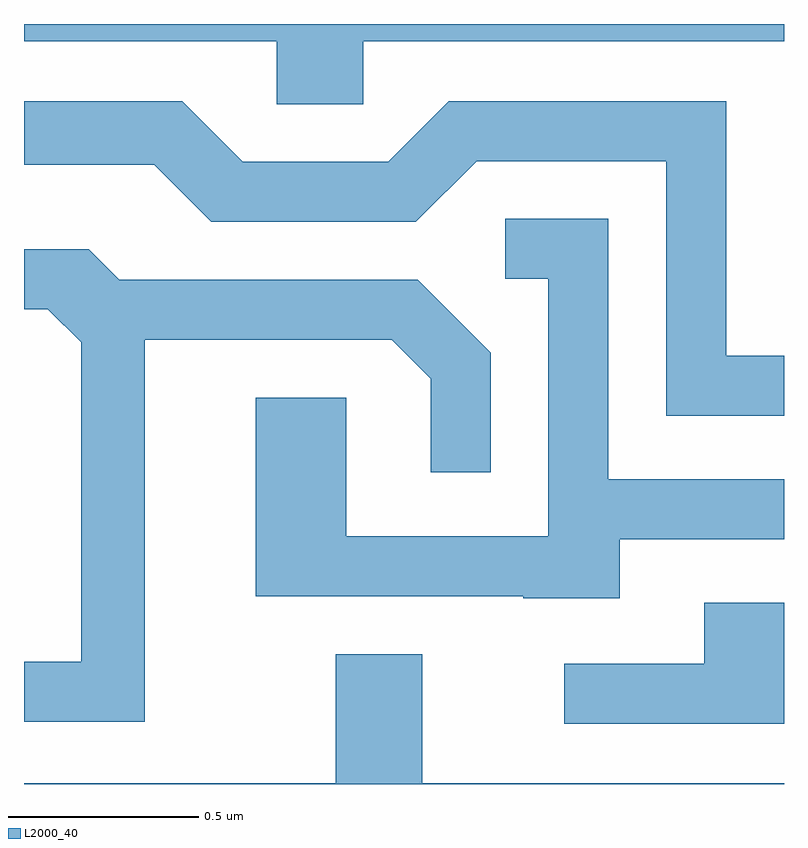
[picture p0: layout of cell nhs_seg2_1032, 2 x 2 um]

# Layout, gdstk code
import gdstk
lib = gdstk.Library(unit=1e-6, precision=1e-09)
def P(c, l, *ps):  # polygons
    for p in ps: c.add(gdstk.Polygon(p, *l))
L2000_40 = (2000, 40)

nhs_seg2_1032 = lib.new_cell('nhs_seg2_1032')
P(nhs_seg2_1032, L2000_40, [(193.504,1052.756),(194.611,1052.756),(194.611,1052.802),(192.611,1052.802),(192.611,1052.756),(193.276,1052.756),(193.276,1052.591),(193.504,1052.591)],
  [(194.611,1051.929),(194.459,1051.929),(194.459,1052.599),(193.729,1052.599),(193.569,1052.439),(193.187,1052.439),(193.027,1052.599),(192.611,1052.599),(192.611,1052.431),(192.954,1052.431),(193.104,1052.281),(193.642,1052.281),(193.802,1052.441),(194.301,1052.441),(194.301,1051.771),(194.611,1051.771)],
  [(194.179,1051.446),(194.611,1051.446),(194.611,1051.604),(194.149,1051.604),(194.149,1052.289),(193.878,1052.289),(193.878,1052.131),(193.991,1052.131),(193.991,1051.454),(193.459,1051.454),(193.459,1051.819),(193.221,1051.819),(193.221,1051.296),(193.925,1051.296),(193.925,1051.291),(194.179,1051.291)],
  [(192.929,1051.971),(193.579,1051.971),(193.681,1051.869),(193.681,1051.623),(193.839,1051.623),(193.839,1051.937),(193.647,1052.129),(192.862,1052.129),(192.782,1052.209),(192.611,1052.209),(192.611,1052.051),(192.674,1052.051),(192.761,1051.964),(192.761,1051.124),(192.611,1051.124),(192.611,1050.966),(192.929,1050.966)],
  [(194.611,1051.279),(194.401,1051.279),(194.401,1051.119),(194.033,1051.119),(194.033,1050.961),(194.611,1050.961)],
  [(194.611,1050.804),(193.659,1050.804),(193.659,1051.144),(193.431,1051.144),(193.431,1050.804),(192.611,1050.804),(192.611,1050.802),(194.611,1050.802)])

lib.write_gds('nhs_seg2_1032.gds')
